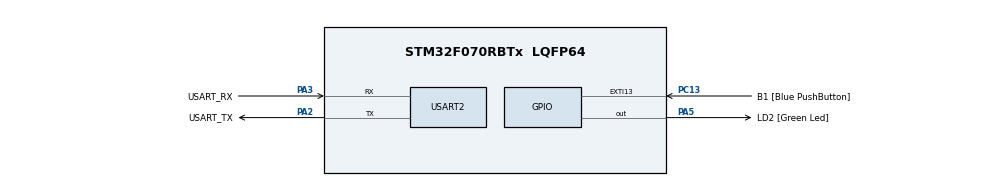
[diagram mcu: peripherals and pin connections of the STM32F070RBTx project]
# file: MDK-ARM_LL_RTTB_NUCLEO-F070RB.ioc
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Mcu.Family=STM32F0
Mcu.Name=STM32F070RBTx
Mcu.Package=LQFP64
PA13.GPIO_Label=TMS
PA13.Mode=Serial_Wire
PA13.Signal=SYS_SWDIO
PA14.GPIO_Label=TCK
PA14.Mode=Serial_Wire
PA14.Signal=SYS_SWCLK
PA2.GPIO_Label=USART_TX
PA2.Mode=Asynchronous
PA2.Signal=USART2_TX
PA3.GPIO_Label=USART_RX
PA3.Mode=Asynchronous
PA3.Signal=USART2_RX
PA5.GPIO_Label=LD2 [Green Led]
PA5.Signal=GPIO_Output
PC13.GPIO_Label=B1 [Blue PushButton]
PC13.GPIO_ModeDefaultEXTI=GPIO_MODE_IT_FALLING
PC13.Signal=GPXTI13
PC14-OSC32_IN.GPIO_Label=RCC_OSC32_IN
PC14-OSC32_IN.Mode=LSE-External-Oscillator
PC14-OSC32_IN.Signal=RCC_OSC32_IN
PC15-OSC32_OUT.GPIO_Label=RCC_OSC32_OUT
PC15-OSC32_OUT.Mode=LSE-External-Oscillator
PC15-OSC32_OUT.Signal=RCC_OSC32_OUT
PF0-OSC_IN.GPIO_Label=RCC_OSC_IN
PF0-OSC_IN.Mode=HSE-External-Clock-Source
PF0-OSC_IN.Signal=RCC_OSC_IN
PF1-OSC_OUT.GPIO_Label=RCC_OSC_OUT
PF1-OSC_OUT.Signal=RCC_OSC_OUT
ProjectManager.HeapSize=0x200
ProjectManager.StackSize=0x400
ProjectManager.TargetToolchain=MDK-ARM V5.27
RCC.AHBFreq_Value=48000000
RCC.APB1Freq_Value=48000000
RCC.APB1TimFreq_Value=48000000
RCC.HCLKFreq_Value=48000000
RCC.PLLMUL=RCC_PLL_MUL6
RCC.SYSCLKFreq_VALUE=48000000
RCC.SYSCLKSource=RCC_SYSCLKSOURCE_PLLCLK
USART2.VirtualMode-Asynchronous=VM_ASYNC
board=NUCLEO-F070RB

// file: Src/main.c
/* USER CODE BEGIN Header */
/**
  ******************************************************************************
  * @file           : main.c
  * @brief          : Main program body
  ******************************************************************************
  * @attention
  *
  * <h2><center>&copy; Copyright (c) 2020 STMicroelectronics.
  * All rights reserved.</center></h2>
  *
  * This software component is licensed by ST under BSD 3-Clause license,
  * the "License"; You may not use this file except in compliance with the
  * License. You may obtain a copy of the License at:
  *                        opensource.org/licenses/BSD-3-Clause
  *
  ******************************************************************************
  */
/* USER CODE END Header */

#include "main.h"

/* USER CODE BEGIN Includes */
#include "SEGGER_RTT.h"
#include "SEGGER_RTT_Conf.h"
#include "string.h"
#include "trice.h"
/* USER CODE END Includes */

void SystemClock_Config(void);
static void MX_GPIO_Init(void);
static void MX_USART2_UART_Init(void);

int main(void)
{

  /* MCU Configuration--------------------------------------------------------*/

  /* Reset of all peripherals, Initializes the Flash interface and the Systick. */

  LL_APB1_GRP2_EnableClock(LL_APB1_GRP2_PERIPH_SYSCFG);
  LL_APB1_GRP1_EnableClock(LL_APB1_GRP1_PERIPH_PWR);

  /* System interrupt init*/

  /* Configure the system clock */
  SystemClock_Config();

  /* USER CODE BEGIN SysInit */
    SysTick->CTRL |= SysTick_CTRL_TICKINT_Msk; // enable SysTick interrupt
  /* USER CODE END SysInit */

  /* Initialize all configured peripherals */
  MX_GPIO_Init();
  MX_USART2_UART_Init();

  /* Infinite loop */
  /* USER CODE BEGIN WHILE */
    TRICE16_1( Id( 2625), "TIM:timing      message, SysTick is %6d\n", SYSTICKVAL16 );
    TRICE0( Id(40508), "att:MDK-ARM_LL_RTTB_NUCLEO-F070RB\n" );
    TRICE16_1( Id( 2625), "TIM:timing      message, SysTick is %6d\n", SYSTICKVAL16 );
    TRICE16_1( Id( 2625), "TIM:timing      message, SysTick is %6d\n", SYSTICKVAL16 );
    TRICE16_1( Id( 2625), "TIM:timing      message, SysTick is %6d\n", SYSTICKVAL16 );
    TRICE16_1( Id( 2625), "TIM:timing      message, SysTick is %6d\n", SYSTICKVAL16 );
    SEGGER_RTT_GetAvailWriteSpace(0);
    char* s = "Hi5!\n";
    SEGGER_RTT_Write(0, s, strlen(s));
    while (1)
    {
      //////////////////////////////////////////////////
      // demo trices
      //
      static uint32_t ms_1 = 0;
      extern uint32_t ms;
      if( ms >= ms_1 + 1000 ){ // every sec
          static int index = 0;
          triceCheckSet(index++%20);
          TRICE32_1( Id(29200), "time:ms = %d\n", ms );
          LL_GPIO_TogglePin(LD2_GPIO_Port, LD2_Pin);
          ms_1 = ms;
      }
      //
      //////////////////////////////////////////////////

      //////////////////////////////////////////////////
      // needed background activity
      //
        #ifdef LL_INTERFACE_NO_INTERRUPTS
        triceServe();
        #endif
      //
      //////////////////////////////////////////////////
    /* USER CODE END WHILE */

  }
}

void SystemClock_Config(void)
{
  LL_FLASH_SetLatency(LL_FLASH_LATENCY_1);

  if(LL_FLASH_GetLatency() != LL_FLASH_LATENCY_1)
  {
  Error_Handler();
  }
  LL_RCC_HSI_Enable();

   /* Wait till HSI is ready */
  while(LL_RCC_HSI_IsReady() != 1)
  {

  }
  LL_RCC_HSI_SetCalibTrimming(16);
  LL_RCC_PLL_ConfigDomain_SYS(LL_RCC_PLLSOURCE_HSI, LL_RCC_PLL_MUL_6, LL_RCC_PREDIV_DIV_1);
  LL_RCC_PLL_Enable();

   /* Wait till PLL is ready */
  while(LL_RCC_PLL_IsReady() != 1)
  {

  }
  LL_RCC_SetAHBPrescaler(LL_RCC_SYSCLK_DIV_1);
  LL_RCC_SetAPB1Prescaler(LL_RCC_APB1_DIV_1);
  LL_RCC_SetSysClkSource(LL_RCC_SYS_CLKSOURCE_PLL);

   /* Wait till System clock is ready */
  while(LL_RCC_GetSysClkSource() != LL_RCC_SYS_CLKSOURCE_STATUS_PLL)
  {

  }
  LL_Init1msTick(48000000);
  LL_SetSystemCoreClock(48000000);
}

static void MX_USART2_UART_Init(void)
{

  LL_USART_InitTypeDef USART_InitStruct = {0};

  LL_GPIO_InitTypeDef GPIO_InitStruct = {0};

  /* Peripheral clock enable */
  LL_APB1_GRP1_EnableClock(LL_APB1_GRP1_PERIPH_USART2);

  LL_AHB1_GRP1_EnableClock(LL_AHB1_GRP1_PERIPH_GPIOA);
  /**USART2 GPIO Configuration
  PA2   ------> USART2_TX
  PA3   ------> USART2_RX
  */
  GPIO_InitStruct.Pin = USART_TX_Pin;
  GPIO_InitStruct.Mode = LL_GPIO_MODE_ALTERNATE;
  GPIO_InitStruct.Speed = LL_GPIO_SPEED_FREQ_HIGH;
  GPIO_InitStruct.OutputType = LL_GPIO_OUTPUT_PUSHPULL;
  GPIO_InitStruct.Pull = LL_GPIO_PULL_NO;
  GPIO_InitStruct.Alternate = LL_GPIO_AF_1;
  LL_GPIO_Init(USART_TX_GPIO_Port, &GPIO_InitStruct);

  GPIO_InitStruct.Pin = USART_RX_Pin;
  GPIO_InitStruct.Mode = LL_GPIO_MODE_ALTERNATE;
  GPIO_InitStruct.Speed = LL_GPIO_SPEED_FREQ_HIGH;
  GPIO_InitStruct.OutputType = LL_GPIO_OUTPUT_PUSHPULL;
  GPIO_InitStruct.Pull = LL_GPIO_PULL_NO;
  GPIO_InitStruct.Alternate = LL_GPIO_AF_1;
  LL_GPIO_Init(USART_RX_GPIO_Port, &GPIO_InitStruct);

  USART_InitStruct.BaudRate = 38400;
  USART_InitStruct.DataWidth = LL_USART_DATAWIDTH_8B;
  USART_InitStruct.StopBits = LL_USART_STOPBITS_1;
  USART_InitStruct.Parity = LL_USART_PARITY_NONE;
  USART_InitStruct.TransferDirection = LL_USART_DIRECTION_TX_RX;
  USART_InitStruct.HardwareFlowControl = LL_USART_HWCONTROL_NONE;
  USART_InitStruct.OverSampling = LL_USART_OVERSAMPLING_16;
  LL_USART_Init(USART2, &USART_InitStruct);
  LL_USART_DisableIT_CTS(USART2);
  LL_USART_ConfigAsyncMode(USART2);
  LL_USART_Enable(USART2);

}

static void MX_GPIO_Init(void)
{
  LL_EXTI_InitTypeDef EXTI_InitStruct = {0};
  LL_GPIO_InitTypeDef GPIO_InitStruct = {0};

  /* GPIO Ports Clock Enable */
  LL_AHB1_GRP1_EnableClock(LL_AHB1_GRP1_PERIPH_GPIOC);
  LL_AHB1_GRP1_EnableClock(LL_AHB1_GRP1_PERIPH_GPIOF);
  LL_AHB1_GRP1_EnableClock(LL_AHB1_GRP1_PERIPH_GPIOA);

  /**/
  LL_GPIO_ResetOutputPin(LD2_GPIO_Port, LD2_Pin);

  /**/
  LL_SYSCFG_SetEXTISource(LL_SYSCFG_EXTI_PORTC, LL_SYSCFG_EXTI_LINE13);

  /**/
  LL_GPIO_SetPinPull(B1_GPIO_Port, B1_Pin, LL_GPIO_PULL_NO);

  /**/
  LL_GPIO_SetPinMode(B1_GPIO_Port, B1_Pin, LL_GPIO_MODE_INPUT);

  /**/
  EXTI_InitStruct.Line_0_31 = LL_EXTI_LINE_13;
  EXTI_InitStruct.LineCommand = ENABLE;
  EXTI_InitStruct.Mode = LL_EXTI_MODE_IT;
  EXTI_InitStruct.Trigger = LL_EXTI_TRIGGER_FALLING;
  LL_EXTI_Init(&EXTI_InitStruct);

  /**/
  GPIO_InitStruct.Pin = LD2_Pin;
  GPIO_InitStruct.Mode = LL_GPIO_MODE_OUTPUT;
  GPIO_InitStruct.Speed = LL_GPIO_SPEED_FREQ_LOW;
  GPIO_InitStruct.OutputType = LL_GPIO_OUTPUT_PUSHPULL;
  GPIO_InitStruct.Pull = LL_GPIO_PULL_NO;
  LL_GPIO_Init(LD2_GPIO_Port, &GPIO_InitStruct);

}

void Error_Handler(void)
{
}

/************************ (C) COPYRIGHT STMicroelectronics *****END OF FILE****/
